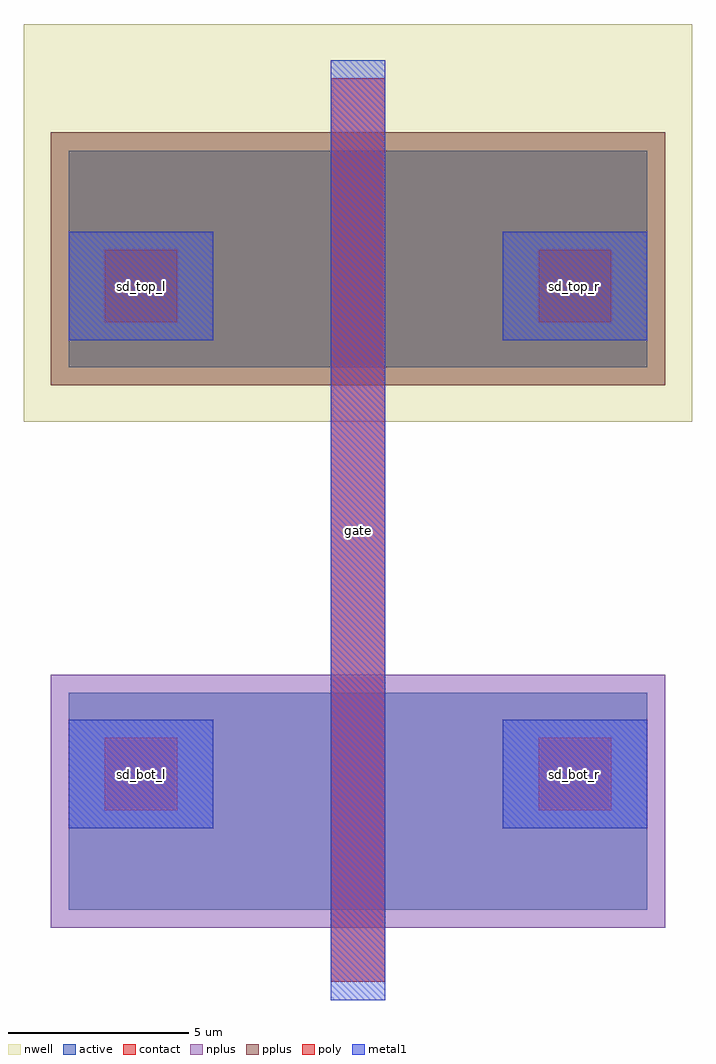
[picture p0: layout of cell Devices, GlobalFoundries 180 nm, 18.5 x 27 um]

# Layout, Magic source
magic
tech gf180mcuA
magscale 1 2
<< nwell >>
rect -370 120 370 560
<< active >>
rect -320 180 320 420
rect -320 -420 320 -180
<< pplus >>
rect -340 160 340 440
<< nplus >>
rect -340 -440 340 -160
<< poly >>
rect -30 -500 30 500
<< contact >>
rect -280 230 -200 310
rect 200 230 280 310
rect -280 -310 -200 -230
rect 200 -310 280 -230
<< metal1 >>
rect -320 210 -160 330
rect 160 210 320 330
rect -320 -330 -160 -210
rect 160 -330 320 -210
rect -30 -520 30 520
<< labels >>
rlabel metal1 -240 270 -240 270 1 sd_top_l
rlabel metal1 240 270 240 270 1 sd_top_r
rlabel metal1 -240 -270 -240 -270 1 sd_bot_l
rlabel metal1 240 -270 240 -270 1 sd_bot_r
rlabel poly 0 0 0 0 1 gate
<< end >>
